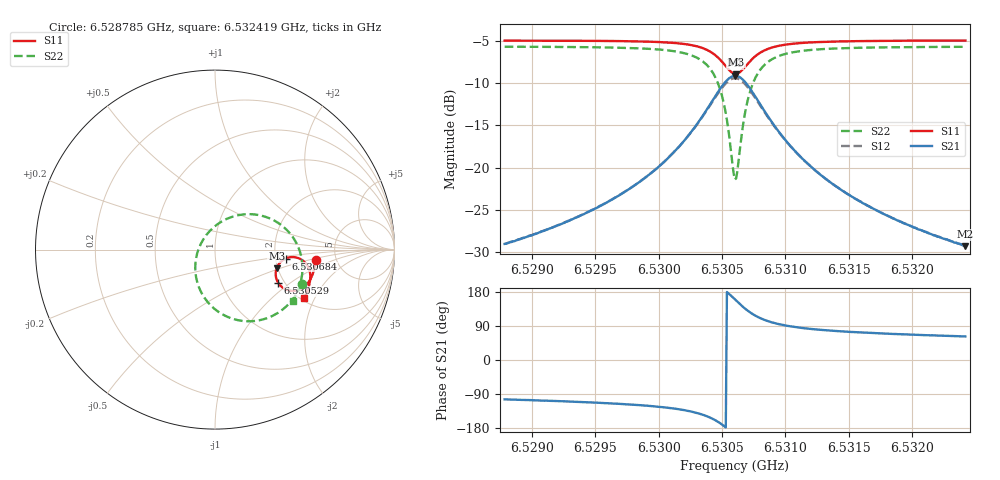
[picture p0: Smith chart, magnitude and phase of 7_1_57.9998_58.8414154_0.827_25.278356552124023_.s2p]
#  HZ  S  RI  R  50.00
! Rohde & Schwarz Vector Network Analyzer
! Rohde-Schwarz,ZNB20-2Port,1311601062101988,3.16
! Created: UTC 3/21/2024, 12:50:36 AM
! freq[Hz]  re:S11  im:S11  re:S21  im:S21  re:S12  im:S12  re:S22  im:S22
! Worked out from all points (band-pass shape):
!   401 points, 6.528785 GHz to 6.532419 GHz, reference 50 ohm
!   highest |S21| = -9.13 dB at 6.530602 GHz (marker M1); lowest = -29.3 dB at 6.532419 GHz (marker M2)
!   |S21| within 3 dB of the highest: 6.530422 GHz to 6.530785 GHz (363.3 kHz wide, 0.00556 % of centre)
!   lowest |S11| = -8.9 dB at 6.530611 GHz (marker M3), VSWR 2.12, Z = 98.7 - j23.4 ohm
!   |S11| at or under -10 dB: nowhere
!   |S22| runs from -21.4 to -5.7 dB; largest |S21 - S12| = 0.015
!   S11 on the Smith chart (normalised r, x): 6.528785 GHz: 3.48, -0.59; 6.530529 GHz: 1.85, -0.82; 6.530684 GHz: 2.28, -0.27; 6.532419 GHz: 2.11, -1.65
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6.5287847e9  0.5611 -0.0573  -0.00852 -0.0344  -0.00927 -0.0342  0.4829 -0.1908
6.5293935e9  0.5517 -0.1105  -0.0189 -0.049  -0.0199 -0.0486  0.4502 -0.2529
6.5297024e9  0.5423 -0.1412  -0.0305 -0.0626  -0.0321 -0.062  0.4195 -0.2933
6.5300022e9  0.5243 -0.1769  -0.0561 -0.0847  -0.0587 -0.0832  0.3616 -0.3451
6.5302203e9  0.4941 -0.2093  -0.1036 -0.1089  -0.107 -0.105  0.2659 -0.3892
6.5303747e9  0.444 -0.2293  -0.1841 -0.1163  -0.1867 -0.108  0.1187 -0.3911
6.5304656e9  0.392 -0.2206  -0.2659 -0.083  -0.2641 -0.071  -0.0164 -0.3178
6.5305019e9  0.3683 -0.2046  -0.3013 -0.0483  -0.296 -0.0358  -0.069 -0.252
6.5305292e9  0.3526 -0.1857  -0.3233 -0.0112  -0.315 0.000595  -0.0978 -0.1853
6.5305837e9  0.3381 -0.1324  -0.3364 0.0862  -0.3233 0.093  -0.0997 -0.0221
6.5306019e9  0.3408 -0.1127  -0.3279 0.1206  -0.3141 0.1248  -0.0788 0.0323
6.5306109e9  0.3438 -0.1032  -0.3211 0.1371  -0.3073 0.1399  -0.0644 0.0579
6.5306291e9  0.3523 -0.0856  -0.303 0.1673  -0.2896 0.1679  -0.0291 0.1037
6.5306836e9  0.3936 -0.05  -0.226 0.2264  -0.2168 0.2223  0.1082 0.1867
6.53072e9  0.4239 -0.0421  -0.1724 0.2387  -0.1662 0.234  0.1998 0.1974
6.5307563e9  0.4505 -0.0437  -0.1263 0.2358  -0.1221 0.2318  0.2767 0.1841
6.5308744e9  0.5029 -0.0733  -0.0378 0.191  -0.0363 0.1891  0.4197 0.0874
6.5310016e9  0.5235 -0.1073  -0.00248 0.1449  -0.00132 0.1441  0.4712 -0.00546
6.5312106e9  0.5311 -0.1479  0.0144 0.0989  0.0156 0.0986  0.4873 -0.1011
6.5314832e9  0.5279 -0.1842  0.0186 0.0678  0.0195 0.0675  0.4799 -0.1716
6.5318193e9  0.5189 -0.2182  0.0183 0.048  0.019 0.0477  0.4634 -0.2251
6.532419e9  0.4985 -0.2671  0.016 0.0304  0.0166 0.0302  0.4326 -0.2863
